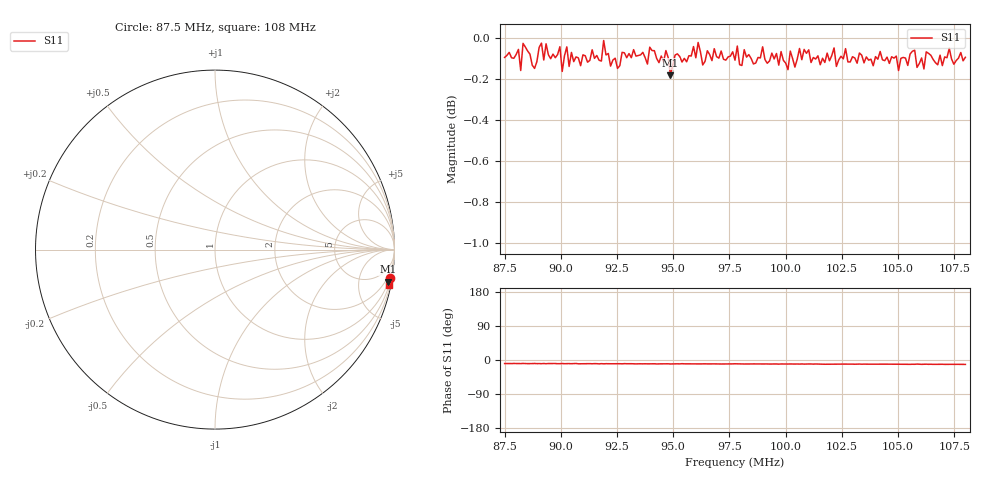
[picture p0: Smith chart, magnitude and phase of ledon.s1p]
!Agilent Technologies,N5225A,MY51441201,A.09.90.19
!Agilent N5225A: A.09.90.19
!Date: Wednesday, April 25, 2018 13:03:37
!Correction: S11(Full 1 Port(1))
!S1P File: Measurement: S11:
# Hz S  dB  R 50
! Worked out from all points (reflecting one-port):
!   201 points, 87.5 MHz to 108 MHz, reference 50 ohm
!   lowest |S11| = -0.2 dB at 94.88 MHz (marker M1), VSWR 95.44, Z = 61.8 - j537 ohm
!   phase of S11 starts at -9 deg and turns -2 deg over the sweep
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8.75e7  -0.10 -9.3
8.8115e7  -0.06 -9.3
8.82175e7  -0.16 -9.6
8.832e7  -0.03 -9.1
8.8525e7  -0.06 -9.6
8.88325e7  -0.15 -9.1
8.914e7  -0.03 -9.7
8.955e7  -0.10 -9.2
8.996e7  -0.04 -9.7
9.00625e7  -0.16 -9.3
9.02675e7  -0.04 -9.6
9.037e7  -0.14 -9.5
9.06775e7  -0.09 -9.2
9.08825e7  -0.14 -9.9
9.19075e7  -0.01 -10.1
9.2625e7  -0.14 -9.8
9.4675e7  -0.06 -10.1
9.488e7  -0.18 -10.5
9.51875e7  -0.08 -10.1
9.7135e7  -0.06 -10.5
9.775e7  -0.11 -10.0
1.003125e8  -0.10 -10.6
1.017475e8  -0.12 -11.2
1.02875e8  -0.12 -10.6
1.054375e8  -0.13 -11.5
1.058475e8  -0.14 -10.8
1.060525e8  -0.10 -11.4
1.08e8  -0.10 -11.6
